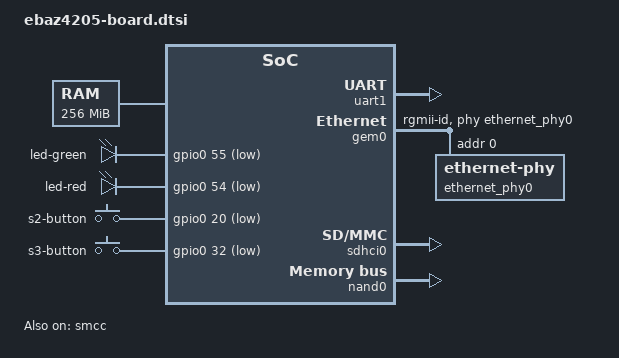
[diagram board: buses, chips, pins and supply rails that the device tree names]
/ {
        chosen {
                bootargs = "console=ttyPS0,115200 earlyprintk root=/dev/mmcblk0p2 rw uio_pdrv_genirq.of_id=generic-uio";
                stdout-path = "serial0:115200n8";
        };

        aliases {
                ethernet0 = &gem0;
                serial0 = &uart1;
                mmc0 = &sdhci0;
        };

        memory@0 {
                device_type = "memory";
                reg = <0x0 0x10000000>;
        };

	leds {
                compatible = "gpio-leds";

		led-green {
                        label = "led-green";
			gpios = <&gpio0 55 1>;
			default-state = "off";
                        linux,default-trigger = "heartbeat";
		};
		led-red {
                        label = "led-red";
			gpios = <&gpio0 54 1>;
			default-state = "off";
		};
        };

        buttons {
                compatible = "gpio-keys-polled";
                poll-interval = <100>;

                s2-button {
                        gpios = <&gpio0 20 1>;
                        label = "s2-button";
                        default-state = "keep";
                        linux,code = <106>;
                        autorepeat;
                };
                s3-button {
                        gpios = <&gpio0 32 1>;
                        label = "s3-button";
                        default-state = "keep";
                        linux,code = <105>;
                        autorepeat;
                };
        };
};

&uart1 {
       status = "okay";
};

&gem0 {
        status = "okay";
        phy-mode = "rgmii-id";
        phy-handle = <&ethernet_phy0>;

        ethernet_phy0: ethernet-phy@0 {
                reg = <0>;
        };
};

&sdhci0 {
        status = "okay";
};

&gpio0 {
        gpio-mask-low = <0x5600>;
};

&smcc {
	status = "okay";
	nand0: flash@e1000000 {
                status = "okay";
                nand-ecc-mode = "none";
                nand-bus-width = <8>;
                partitions {
        		compatible = "fixed-partitions";
        		#address-cells = <1>;
        		#size-cells = <1>;

			partition0: partition@0 {
				label = "fsbl_uboot";
				reg = <0x0 0x120000>;
			};
			partition1: partition@120000 {
				label = "uboot_env";
				reg = <0x120000 0x20000>;
			};
			partition2: partition@140000 {
				label = "bitstream";
				reg = <0x140000 0x200000>;
			};
			partition3: partition@340000 {
				label = "kernel";
				reg = <0x340000 0x500000>;
			};
			partition4: partition@840000 {
				label = "device_tree";
				reg = <0x840000 0x20000>;
			};
			partition5: partition@860000 {
				label = "rootfs";
				reg = <0x860000 0x77A0000>;
			};
                };
        };
};
